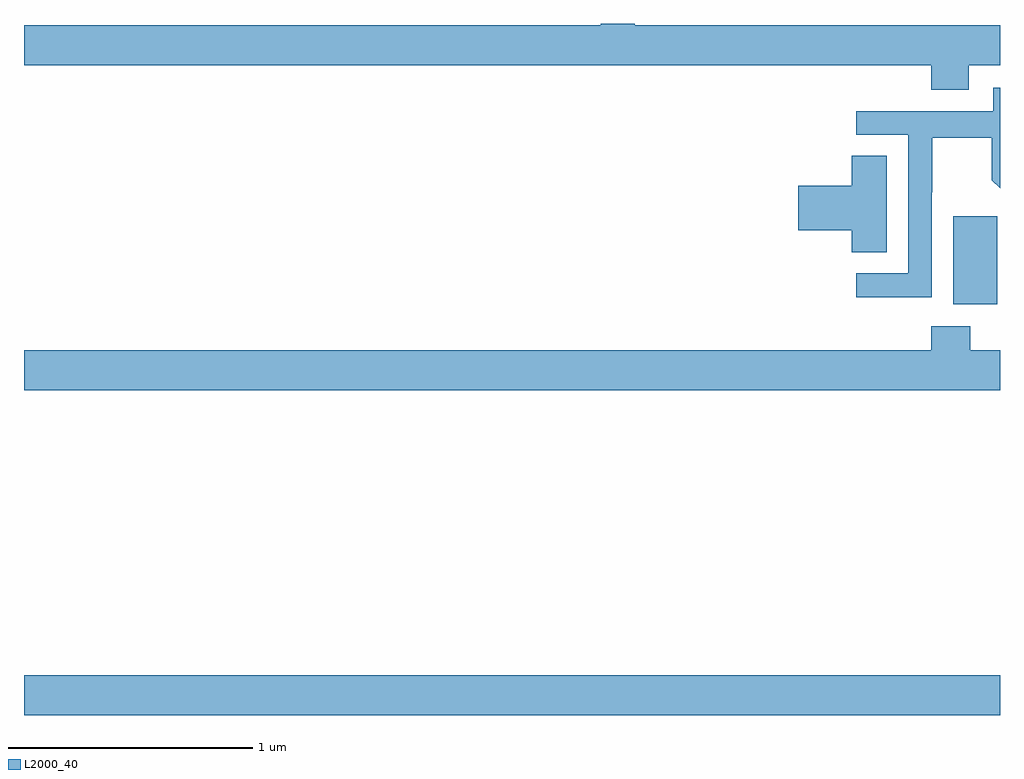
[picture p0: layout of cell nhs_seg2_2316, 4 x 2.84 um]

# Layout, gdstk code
import gdstk
lib = gdstk.Library(unit=1e-6, precision=1e-09)
def R(c, l, rs):  # rectangles x0, y0, x1, y1
    for r in rs: c.add(gdstk.rectangle(r[:2], r[2:], *l))
def P(c, l, *ps):  # polygons
    for p in ps: c.add(gdstk.Polygon(p, *l))
L2000_40 = (2000, 40)

nhs_seg2_2316 = lib.new_cell('nhs_seg2_2316')
R(nhs_seg2_2316, L2000_40, [(231,652.964,235,653.128), (234.809,654.65,234.988,655.011)])
P(nhs_seg2_2316, L2000_40, [(234.871,655.628),(235,655.628),(235,655.792),(233.503,655.792),(233.503,655.8),(233.363,655.8),(233.363,655.792),(231,655.792),(231,655.628),(234.719,655.628),(234.719,655.529),(234.871,655.529)],
  [(234.72,655.108),(234.723,655.108),(234.723,655.332),(234.967,655.332),(234.967,655.157),(235,655.124),(235,655.537),(234.972,655.537),(234.972,655.44),(234.411,655.44),(234.411,655.344),(234.624,655.344),(234.624,654.777),(234.411,654.777),(234.411,654.679),(234.72,654.679)],
  [(234.535,655.259),(234.392,655.259),(234.392,655.136),(234.174,655.136),(234.174,654.953),(234.392,654.953),(234.392,654.862),(234.535,654.862)],
  [(235,654.46),(234.879,654.46),(234.879,654.559),(234.719,654.559),(234.719,654.46),(231,654.46),(231,654.296),(235,654.296)])

lib.write_gds('nhs_seg2_2316.gds')
